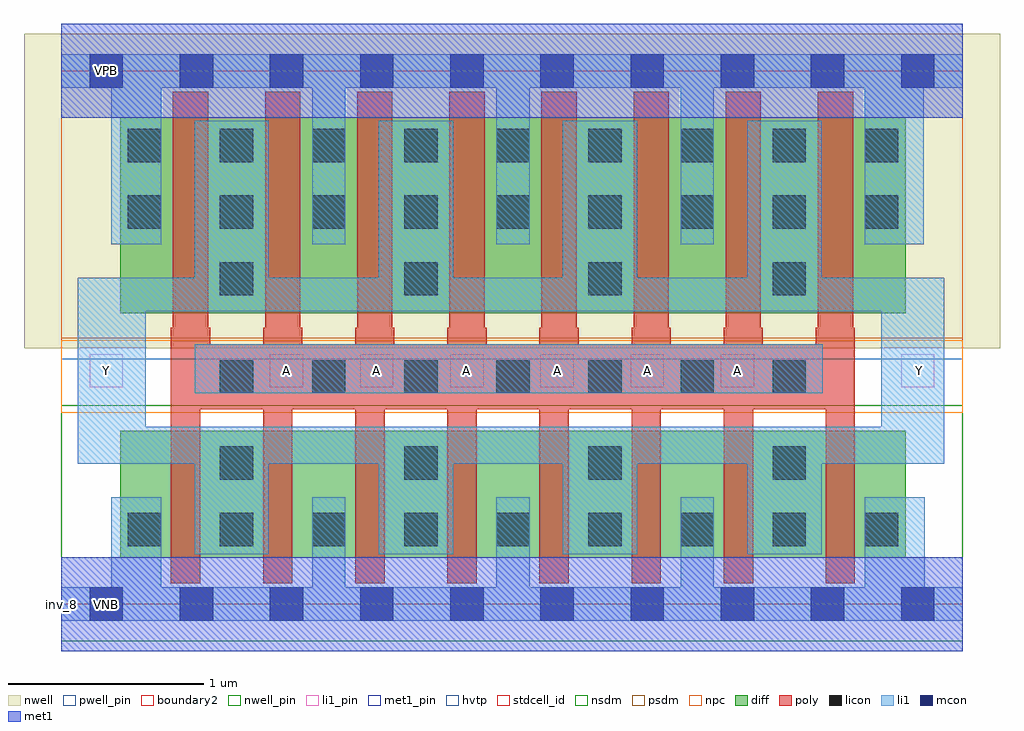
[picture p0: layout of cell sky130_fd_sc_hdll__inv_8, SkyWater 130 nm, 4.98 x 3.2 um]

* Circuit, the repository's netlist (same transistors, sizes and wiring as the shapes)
* Copyright 2020 The SkyWater PDK Authors
*
* Licensed under the Apache License, Version 2.0 (the "License");
* you may not use this file except in compliance with the License.
* You may obtain a copy of the License at
*
*     https://www.apache.org/licenses/LICENSE-2.0
*
* Unless required by applicable law or agreed to in writing, software
* distributed under the License is distributed on an "AS IS" BASIS,
* WITHOUT WARRANTIES OR CONDITIONS OF ANY KIND, either express or implied.
* See the License for the specific language governing permissions and
* limitations under the License.
*
* SPDX-License-Identifier: Apache-2.0

.SUBCKT sky130_fd_sc_hdll__inv_8 A VGND VNB VPB VPWR Y
*.PININFO A:I VGND:I VNB:I VPB:I VPWR:I Y:O
MMIP1 Y A VPWR VPB sky130_fd_pr__pfet_01v8_hvt m=8 w=1.0U l=0.18U mult=1 sa=0.265
+ sb=0.265 sd=0.28 area=0.063 perim=1.14
MMIN1 Y A VGND VNB sky130_fd_pr__nfet_01v8 m=8 w=0.65U l=0.15U mult=1 sa=0.265
+ sb=0.265 sd=0.28 area=0.063 perim=1.14
.ENDS sky130_fd_sc_hdll__inv_8

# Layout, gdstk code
import gdstk
lib = gdstk.Library(unit=1e-6, precision=1e-09)
def R(c, l, rs):  # rectangles x0, y0, x1, y1
    for r in rs: c.add(gdstk.rectangle(r[:2], r[2:], *l))
def A(c, l, x, y, w, h, nx, ny, dx, dy):  # array of equal rectangles
    R(c, l, [(x+i*dx, y+j*dy, x+i*dx+w, y+j*dy+h) for i in range(nx) for j in range(ny)])
def P(c, l, *ps):  # polygons
    for p in ps: c.add(gdstk.Polygon(p, *l))
nwell_pin = (64, 16)
nwell = (64, 20)
diff = (65, 20)
poly = (66, 20)
licon = (66, 44)
li1_pin = (67, 16)
li1 = (67, 20)
mcon = (67, 44)
met1_pin = (68, 16)
met1 = (68, 20)
hvtp = (78, 44)
stdcell_id = (81, 4)
nsdm = (93, 44)
psdm = (94, 20)
npc = (95, 20)
pwell_pin = (122, 16)
boundary2 = (236, 0)

sky130_fd_sc_hdll__inv_8 = lib.new_cell('sky130_fd_sc_hdll__inv_8')
R(sky130_fd_sc_hdll__inv_8, nwell_pin, [(0.145,2.635,0.315,2.805)])
R(sky130_fd_sc_hdll__inv_8, nwell, [(-0.19,1.305,4.79,2.91)])
R(sky130_fd_sc_hdll__inv_8, diff, [(0.3,0.235,4.31,0.885), (0.3,1.485,4.31,2.485)])
P(sky130_fd_sc_hdll__inv_8, poly, [(4.05,1.41),(4.04,1.41),(4.04,2.615),(3.86,2.615),(3.86,1.41),(3.85,1.41),(3.85,1.325),(3.58,1.325),(3.58,1.41),(3.57,1.41),(3.57,2.615),(3.39,2.615),(3.39,1.41),(3.38,1.41),(3.38,1.325),(3.11,1.325),(3.11,1.41),(3.1,1.41),(3.1,2.615),(2.92,2.615),(2.92,1.41),(2.91,1.41),(2.91,1.325),(2.64,1.325),(2.64,1.41),(2.63,1.41),(2.63,2.615),(2.45,2.615),(2.45,1.41),(2.44,1.41),(2.44,1.325),(2.17,1.325),(2.17,1.41),(2.16,1.41),(2.16,2.615),(1.98,2.615),(1.98,1.41),(1.97,1.41),(1.97,1.325),(1.7,1.325),(1.7,1.41),(1.69,1.41),(1.69,2.615),(1.51,2.615),(1.51,1.41),(1.5,1.41),(1.5,1.325),(1.23,1.325),(1.23,1.41),(1.22,1.41),(1.22,2.615),(1.04,2.615),(1.04,1.41),(1.03,1.41),(1.03,1.325),(0.76,1.325),(0.76,1.41),(0.75,1.41),(0.75,2.615),(0.57,2.615),(0.57,1.41),(0.56,1.41),(0.56,0.105),(0.71,0.105),(0.71,0.995),(1.03,0.995),(1.03,0.105),(1.18,0.105),(1.18,0.995),(1.5,0.995),(1.5,0.105),(1.65,0.105),(1.65,0.995),(1.97,0.995),(1.97,0.105),(2.12,0.105),(2.12,0.995),(2.44,0.995),(2.44,0.105),(2.59,0.105),(2.59,0.995),(2.91,0.995),(2.91,0.105),(3.06,0.105),(3.06,0.995),(3.38,0.995),(3.38,0.105),(3.53,0.105),(3.53,0.995),(3.9,0.995),(3.9,0.105),(4.05,0.105)])
A(sky130_fd_sc_hdll__inv_8, licon, 0.34, 0.295, 0.17, 0.17, 9, 2, 0.47, 1.62)
A(sky130_fd_sc_hdll__inv_8, licon, 0.81, 0.635, 0.17, 0.17, 4, 2, 0.94, 0.94)
A(sky130_fd_sc_hdll__inv_8, licon, 0.81, 1.075, 0.17, 0.17, 7, 1, 0.47, 0)
A(sky130_fd_sc_hdll__inv_8, licon, 0.34, 2.255, 0.17, 0.17, 9, 1, 0.47, 0)
A(sky130_fd_sc_hdll__inv_8, li1_pin, 1.065, 1.105, 0.17, 0.17, 6, 1, 0.46, 0)
R(sky130_fd_sc_hdll__inv_8, li1_pin, [(0.145,1.105,0.315,1.275), (4.285,1.105,4.455,1.275)])
R(sky130_fd_sc_hdll__inv_8, li1, [(0.68,1.075,3.885,1.325)])
P(sky130_fd_sc_hdll__inv_8, li1, [(4.505,1.665),(4.185,1.665),(4.185,0.905),(0.43,0.905),(0.43,1.495),(4.185,1.495),(4.185,1.665),(3.88,1.665),(3.88,2.465),(3.5,2.465),(3.5,1.665),(2.94,1.665),(2.94,2.465),(2.56,2.465),(2.56,1.665),(2,1.665),(2,2.465),(1.62,2.465),(1.62,1.665),(1.06,1.665),(1.06,2.465),(0.68,2.465),(0.68,1.665),(0.085,1.665),(0.085,0.715),(0.68,0.715),(0.68,0.255),(1.06,0.255),(1.06,0.715),(1.62,0.715),(1.62,0.255),(2,0.255),(2,0.715),(2.56,0.715),(2.56,0.255),(2.94,0.255),(2.94,0.715),(3.5,0.715),(3.5,0.255),(3.88,0.255),(3.88,0.715),(4.505,0.715)],
  [(4.6,0.085),(4.405,0.085),(4.405,0.545),(4.1,0.545),(4.1,0.085),(3.33,0.085),(3.33,0.545),(3.16,0.545),(3.16,0.085),(2.39,0.085),(2.39,0.545),(2.22,0.545),(2.22,0.085),(1.45,0.085),(1.45,0.545),(1.28,0.545),(1.28,0.085),(0.51,0.085),(0.51,0.545),(0.255,0.545),(0.255,0.085),(0,0.085),(0,-0.085),(4.6,-0.085)],
  [(4.6,2.805),(0,2.805),(0,2.635),(0.255,2.635),(0.255,1.835),(0.51,1.835),(0.51,2.635),(1.28,2.635),(1.28,1.835),(1.45,1.835),(1.45,2.635),(2.22,2.635),(2.22,1.835),(2.39,1.835),(2.39,2.635),(3.16,2.635),(3.16,1.835),(3.33,1.835),(3.33,2.635),(4.1,2.635),(4.1,1.835),(4.4,1.835),(4.4,2.635),(4.6,2.635)])
A(sky130_fd_sc_hdll__inv_8, mcon, 0.145, -0.085, 0.17, 0.17, 10, 2, 0.46, 2.72)
R(sky130_fd_sc_hdll__inv_8, met1_pin, [(0.145,-0.085,0.315,0.085), (0.145,2.635,0.315,2.805)])
R(sky130_fd_sc_hdll__inv_8, met1, [(0,-0.24,4.6,0.24), (0,2.48,4.6,2.96)])
R(sky130_fd_sc_hdll__inv_8, hvtp, [(0,1.25,4.6,2.72)])
R(sky130_fd_sc_hdll__inv_8, stdcell_id, [(0,0,4.6,2.72)])
R(sky130_fd_sc_hdll__inv_8, nsdm, [(0,-0.19,4.6,1.015)])
R(sky130_fd_sc_hdll__inv_8, psdm, [(0,1.355,4.6,2.91)])
R(sky130_fd_sc_hdll__inv_8, npc, [(0,0.975,4.6,1.345)])
R(sky130_fd_sc_hdll__inv_8, pwell_pin, [(0.145,-0.085,0.315,0.085)])
R(sky130_fd_sc_hdll__inv_8, boundary2, [(0,0,4.6,2.72)])
sky130_fd_sc_hdll__inv_8.add(gdstk.Label('A', (1.15,1.19), layer=67, texttype=5))
sky130_fd_sc_hdll__inv_8.add(gdstk.Label('A', (1.61,1.19), layer=67, texttype=5))
sky130_fd_sc_hdll__inv_8.add(gdstk.Label('A', (2.07,1.19), layer=67, texttype=5))
sky130_fd_sc_hdll__inv_8.add(gdstk.Label('A', (2.53,1.19), layer=67, texttype=5))
sky130_fd_sc_hdll__inv_8.add(gdstk.Label('A', (2.99,1.19), layer=67, texttype=5))
sky130_fd_sc_hdll__inv_8.add(gdstk.Label('A', (3.45,1.19), layer=67, texttype=5))
sky130_fd_sc_hdll__inv_8.add(gdstk.Label('Y', (4.38,1.19), layer=67, texttype=5))
sky130_fd_sc_hdll__inv_8.add(gdstk.Label('Y', (0.23,1.19), layer=67, texttype=5))
sky130_fd_sc_hdll__inv_8.add(gdstk.Label('VNB', (0.23,0), layer=64, texttype=59))
sky130_fd_sc_hdll__inv_8.add(gdstk.Label('VPB', (0.23,2.72), layer=64, texttype=5))
sky130_fd_sc_hdll__inv_8.add(gdstk.Label('VGND', (0.23,0), layer=68, texttype=5))
sky130_fd_sc_hdll__inv_8.add(gdstk.Label('VPWR', (0.23,2.72), layer=68, texttype=5))
sky130_fd_sc_hdll__inv_8.add(gdstk.Label('inv_8', (0,0), layer=83, texttype=44))

lib.write_gds('sky130_fd_sc_hdll__inv_8.gds')
